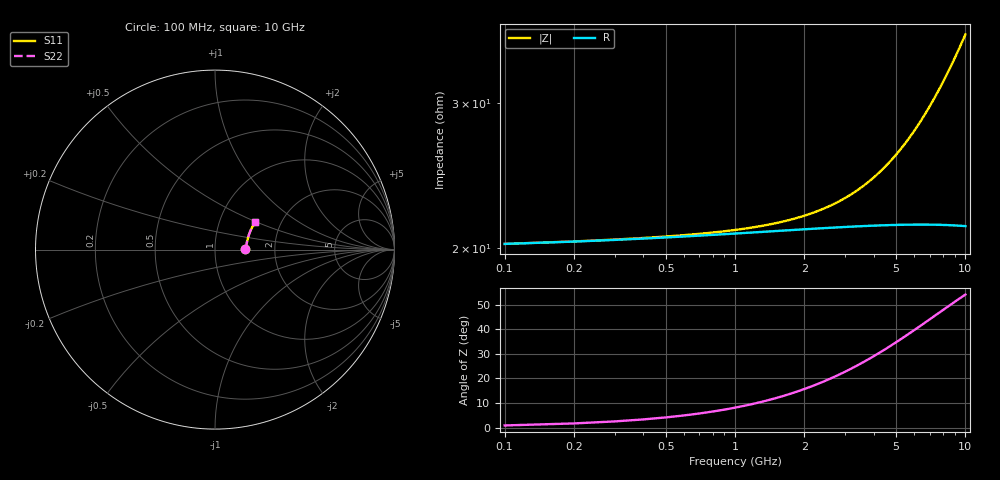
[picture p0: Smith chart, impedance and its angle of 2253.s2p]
# Hz S RI R 50.00
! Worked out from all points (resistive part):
!   100 points, 100 MHz to 10 GHz, reference 50 ohm
!   read as one part in series: R = 20.3 ohm at 100 MHz
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1e8  0.1684 0.00167  0.8316 -0.0024  0.8316 -0.0024  0.1684 0.00167
2e8  0.1694 0.00332  0.8306 -0.00479  0.8306 -0.00479  0.1694 0.00332
3e8  0.17 0.00497  0.8299 -0.00718  0.8299 -0.00718  0.17 0.00497
5e8  0.1711 0.00826  0.8289 -0.0119  0.8289 -0.0119  0.1711 0.00826
9e8  0.1727 0.0148  0.8273 -0.0214  0.8273 -0.0214  0.1727 0.0148
1.4e9  0.1743 0.0229  0.8256 -0.0332  0.8256 -0.0332  0.1743 0.0229
1.8e9  0.1756 0.0294  0.8243 -0.0427  0.8243 -0.0427  0.1756 0.0294
2.2e9  0.1769 0.0359  0.823 -0.052  0.823 -0.052  0.1769 0.0359
2.6e9  0.1782 0.0423  0.8216 -0.0614  0.8216 -0.0614  0.1782 0.0423
3e9  0.1796 0.0486  0.8201 -0.0707  0.8201 -0.0707  0.1796 0.0486
3.4e9  0.1811 0.055  0.8185 -0.08  0.8185 -0.08  0.1811 0.055
3.8e9  0.1828 0.0613  0.8168 -0.0892  0.8168 -0.0892  0.1828 0.0613
4.2e9  0.1845 0.0675  0.815 -0.0984  0.815 -0.0984  0.1845 0.0675
4.6e9  0.1863 0.0737  0.813 -0.1076  0.813 -0.1076  0.1863 0.0737
5.1e9  0.1888 0.0814  0.8104 -0.1189  0.8104 -0.1189  0.1888 0.0814
5.8e9  0.1926 0.092  0.8064 -0.1347  0.8064 -0.1347  0.1926 0.092
6.2e9  0.1949 0.098  0.804 -0.1436  0.804 -0.1436  0.1949 0.098
6.7e9  0.1979 0.1054  0.8007 -0.1547  0.8007 -0.1547  0.1979 0.1054
7.5e9  0.2032 0.117  0.7951 -0.1722  0.7951 -0.1722  0.2032 0.117
8.4e9  0.2098 0.1297  0.7881 -0.1915  0.7881 -0.1915  0.2098 0.1297
9.2e9  0.216 0.1406  0.7814 -0.2084  0.7814 -0.2084  0.216 0.1406
1e10  0.2227 0.1512  0.7743 -0.2249  0.7743 -0.2249  0.2227 0.1512
